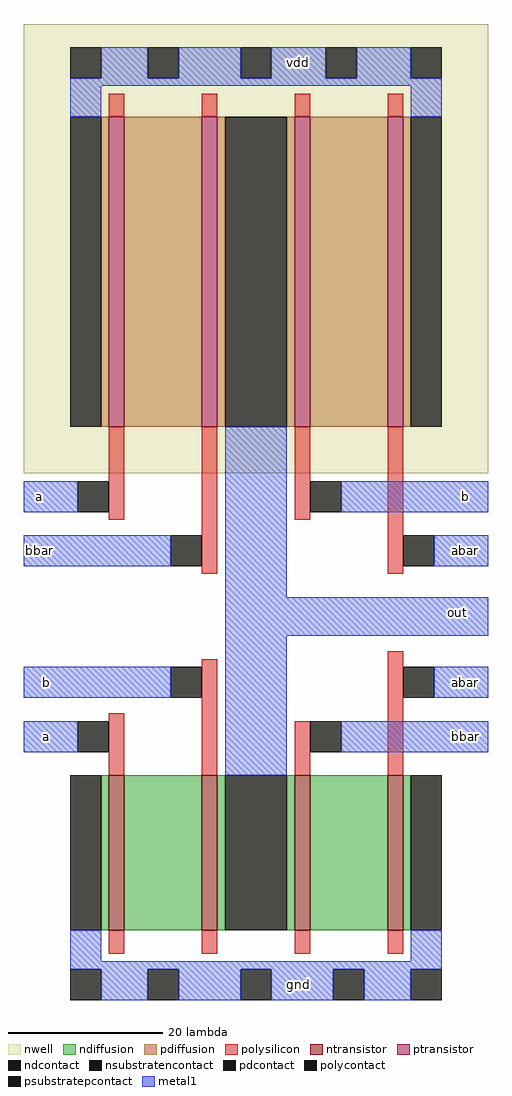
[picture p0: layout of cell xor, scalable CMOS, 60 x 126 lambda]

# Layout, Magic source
magic
tech scmos
<< nwell >>
rect -31 -22 29 36
<< ntransistor >>
rect -20 -81 -18 -61
rect -8 -81 -6 -61
rect 4 -81 6 -61
rect 16 -81 18 -61
<< ptransistor >>
rect -20 -16 -18 24
rect -8 -16 -6 24
rect 4 -16 6 24
rect 16 -16 18 24
<< ndiffusion >>
rect -21 -81 -20 -61
rect -18 -81 -8 -61
rect -6 -81 -5 -61
rect 3 -81 4 -61
rect 6 -81 16 -61
rect 18 -81 19 -61
<< pdiffusion >>
rect -21 -16 -20 24
rect -18 -16 -8 24
rect -6 -16 -5 24
rect 3 -16 4 24
rect 6 -16 16 24
rect 18 -16 19 24
<< ndcontact >>
rect -25 -81 -21 -61
rect -5 -81 3 -61
rect 19 -81 23 -61
<< pdcontact >>
rect -25 -16 -21 24
rect -5 -16 3 24
rect 19 -16 23 24
<< psubstratepcontact >>
rect -25 -90 -21 -86
rect -15 -90 -11 -86
rect -3 -90 1 -86
rect 9 -90 13 -86
rect 19 -90 23 -86
<< nsubstratencontact >>
rect -25 29 -21 33
rect -15 29 -11 33
rect -3 29 1 33
rect 8 29 12 33
rect 19 29 23 33
<< polysilicon >>
rect -20 24 -18 27
rect -8 24 -6 27
rect 4 24 6 27
rect 16 24 18 27
rect -20 -28 -18 -16
rect -8 -35 -6 -16
rect 4 -28 6 -16
rect 16 -35 18 -16
rect -20 -61 -18 -53
rect -8 -61 -6 -46
rect 4 -61 6 -54
rect 16 -61 18 -45
rect -20 -84 -18 -81
rect -8 -84 -6 -81
rect 4 -84 6 -81
rect 16 -84 18 -81
<< polycontact >>
rect -24 -27 -20 -23
rect -12 -34 -8 -30
rect 6 -27 10 -23
rect 18 -34 22 -30
rect -12 -51 -8 -47
rect -24 -58 -20 -54
rect 6 -58 10 -54
rect 18 -51 22 -47
<< metal1 >>
rect -21 29 -15 33
rect -11 29 -3 33
rect 1 29 8 33
rect 12 29 19 33
rect -25 28 23 29
rect -25 24 -21 28
rect 19 24 23 28
rect -31 -27 -24 -23
rect -31 -34 -12 -30
rect -5 -38 3 -16
rect 10 -27 29 -23
rect 22 -34 29 -30
rect -5 -43 29 -38
rect -31 -51 -12 -47
rect -31 -58 -24 -54
rect -5 -61 3 -43
rect 22 -51 29 -47
rect 10 -58 29 -54
rect -25 -85 -21 -81
rect 19 -85 23 -81
rect -25 -86 23 -85
rect -21 -90 -15 -86
rect -11 -90 -3 -86
rect 1 -90 9 -86
rect 13 -90 19 -86
<< labels >>
rlabel metal1 3 30 6 32 5 vdd
rlabel metal1 -30 -26 -28 -24 3 a
rlabel metal1 -30 -33 -28 -31 3 bbar
rlabel metal1 25 -26 27 -24 7 b
rlabel metal1 25 -33 27 -31 7 abar
rlabel metal1 3 -89 6 -87 1 gnd
rlabel metal1 -29 -57 -27 -55 3 a
rlabel metal1 -29 -50 -27 -48 3 b
rlabel metal1 25 -50 27 -48 7 abar
rlabel metal1 25 -57 27 -55 7 bbar
rlabel metal1 24 -41 26 -39 7 out
<< end >>
